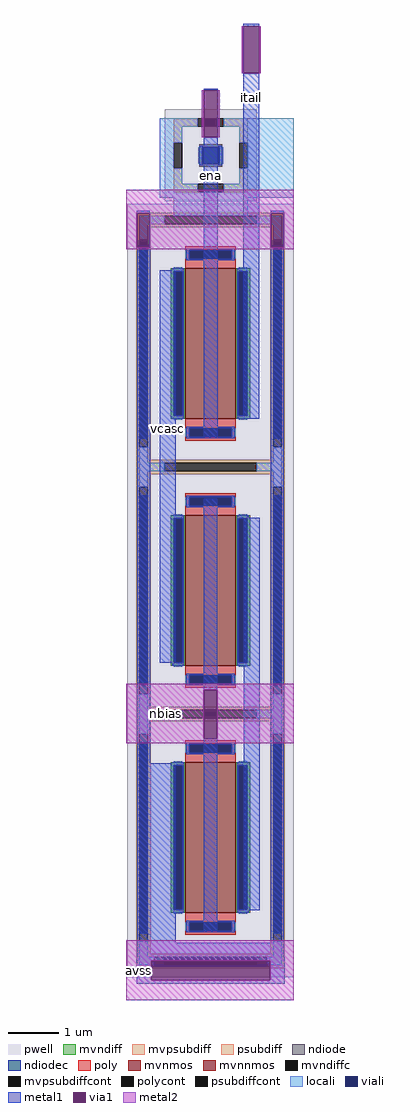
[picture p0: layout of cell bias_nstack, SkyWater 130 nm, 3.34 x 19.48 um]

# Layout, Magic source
magic
tech sky130A
magscale 1 2
<< locali >>
rect 3392 364 3448 658
rect 3742 364 3926 658
rect 3392 342 3926 364
rect 3448 270 3742 342
<< metal1 >>
rect 3724 1027 3788 1035
rect 3568 771 3622 777
rect 3300 280 3352 290
rect 3352 144 3353 276
rect 3300 138 3353 144
rect 3301 -1916 3353 138
rect 3392 -1514 3456 52
rect 3568 -610 3622 583
rect 3724 -540 3788 839
rect 3834 282 3886 290
rect 3834 280 3887 282
rect 3886 144 3887 280
rect 3834 138 3887 144
rect 3568 -1622 3620 -860
rect 3301 -2632 3456 -1916
rect 3568 -2584 3620 -1818
rect 3726 -2502 3790 -936
rect 3568 -2586 3616 -2584
rect 3835 -2632 3887 138
rect 3301 -2690 3887 -2632
rect 3300 -2704 3890 -2690
rect 3300 -2782 3358 -2704
rect 3832 -2782 3890 -2704
rect 3300 -2796 3890 -2782
<< via1 >>
rect 3724 839 3788 1027
rect 3568 583 3622 771
rect 3300 144 3352 280
rect 3834 144 3886 280
rect 3568 -1818 3620 -1622
rect 3358 -2782 3832 -2704
<< metal2 >>
rect 3718 839 3724 1027
rect 3788 839 3794 1027
rect 3560 583 3568 771
rect 3622 583 3631 771
rect 3258 280 3926 374
rect 3258 144 3300 280
rect 3352 144 3834 280
rect 3886 144 3926 280
rect 3258 136 3926 144
rect 3258 -1622 3926 -1598
rect 3258 -1818 3568 -1622
rect 3620 -1818 3926 -1622
rect 3258 -1836 3926 -1818
rect 3258 -2704 3926 -2622
rect 3258 -2782 3358 -2704
rect 3832 -2782 3926 -2704
rect 3258 -2860 3926 -2782
use sky130_fd_pr__diode_pw2nd_05v5_FT76RK  sky130_fd_pr__diode_pw2nd_05v5_FT76RK_0 paramcells
transform 1 0 3595 0 1 511
box -183 -183 183 183
use sky130_fd_pr__nfet_05v0_nvt_QRKT8P  XM6 paramcells
transform 1 0 3594 0 1 -1226
box -332 -558 332 558
use sky130_fd_pr__nfet_g5v0d10v5_ZMKT8P  XM7 paramcells
transform 1 0 3594 0 1 -240
box -332 -558 332 558
use sky130_fd_pr__nfet_g5v0d10v5_C3WBNQ  XM12 paramcells
transform 1 0 3594 0 1 -2212
box -332 -558 332 558
<< labels >>
flabel metal1 3724 690 3788 792 0 FreeSans 560 90 0 0 itail
port 2 nsew
flabel metal1 3568 404 3622 458 0 FreeSans 560 0 0 0 ena
port 3 nsew
flabel metal2 3262 -1836 3568 -1598 0 FreeSans 560 0 0 0 nbias
port 4 nsew
flabel metal1 3392 -612 3456 -550 0 FreeSans 560 90 0 0 vcasc
port 5 nsew
flabel metal2 3258 -2860 3358 -2622 0 FreeSans 560 90 0 0 avss
port 1 nsew
<< end >>

# cell sky130_fd_pr__diode_pw2nd_05v5_FT76RK: kit device sky130_fd_pr__diode_pw2nd_05v5, w 0.45 l 0.45 area 202.5m peri 1.8 nx 1 ny 1 dummy 0 lmin 0.45 wmin 0.45 elc 1 erc 1 etc 1 ebc 1 doverlap 0 compatible {sky130_fd_pr__diode_pw2nd_05v5 sky130_fd_pr__diode_pw2nd_05v5_lvt sky130_fd_pr__diode_pw2nd_05v5_nvt sky130_fd_pr__diode_pw2nd_11v0} full_metal 1 vias 1 viagb 0 viagt 0 viagl 0 viagr 0

# cell sky130_fd_pr__nfet_05v0_nvt_QRKT8P: kit device sky130_fd_pr__nfet_05v0_nvt, w 3.0 l 1.0 m 1 nf 1 diffcov 100 polycov 100 guard 1 glc 1 grc 1 gtc 1 gbc 1 tbcov 100 rlcov 100 topc 1 botc 1 poverlap 0 doverlap 1 lmin 0.90 wmin 0.42 compatible {sky130_fd_pr__nfet_01v8 sky130_fd_pr__nfet_01v8_lvt sky130_fd_bs_flash__special_sonosfet_star sky130_fd_pr__nfet_g5v0d10v5 sky130_fd_pr__nfet_05v0_nvt sky130_fd_pr__nfet_03v3_nvt} full_metal 1 viasrc 100 viadrn 100 viagate 100 viagb 0 viagr 80 viagl 80 viagt 0

# cell sky130_fd_pr__nfet_g5v0d10v5_ZMKT8P: kit device sky130_fd_pr__nfet_g5v0d10v5, w 3.0 l 1.0 m 1 nf 1 diffcov 100 polycov 100 guard 1 glc 1 grc 1 gtc 1 gbc 1 tbcov 100 rlcov 100 topc 1 botc 1 poverlap 0 doverlap 1 lmin 0.50 wmin 0.42 compatible {sky130_fd_pr__nfet_01v8 sky130_fd_pr__nfet_01v8_lvt sky130_fd_bs_flash__special_sonosfet_star sky130_fd_pr__nfet_g5v0d10v5 sky130_fd_pr__nfet_05v0_nvt sky130_fd_pr__nfet_03v3_nvt} full_metal 1 viasrc 100 viadrn 100 viagate 100 viagb 0 viagr 80 viagl 80 viagt 0

# cell sky130_fd_pr__nfet_g5v0d10v5_C3WBNQ: kit device sky130_fd_pr__nfet_g5v0d10v5, w 3.0 l 1.0 m 1 nf 1 diffcov 100 polycov 100 guard 1 glc 1 grc 1 gtc 1 gbc 1 tbcov 100 rlcov 100 topc 1 botc 1 poverlap 0 doverlap 1 lmin 0.50 wmin 0.42 compatible {sky130_fd_pr__nfet_01v8 sky130_fd_pr__nfet_01v8_lvt sky130_fd_bs_flash__special_sonosfet_star sky130_fd_pr__nfet_g5v0d10v5 sky130_fd_pr__nfet_05v0_nvt sky130_fd_pr__nfet_03v3_nvt} full_metal 1 viasrc 100 viadrn 100 viagate 100 viagb 90 viagr 80 viagl 80 viagt 0
